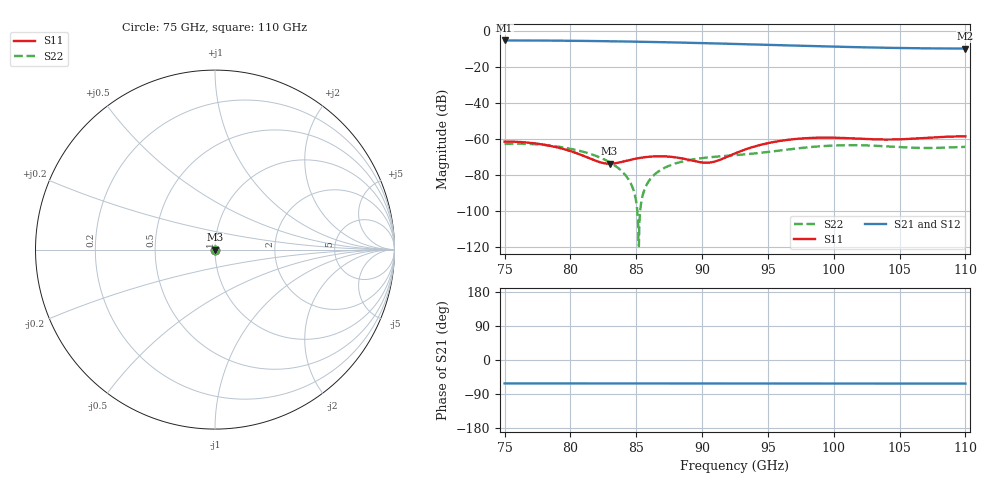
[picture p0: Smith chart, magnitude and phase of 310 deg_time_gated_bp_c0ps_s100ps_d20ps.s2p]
# Hz S RI R 50.000000
! Metas.Vna.Tools, 2.4.7724.19584
! Metas.Vna.Data, 2.4.7724.19560
! Created: UTC 2021.04.29 12:40:11
! FREQ  re:S1,1  im:S1,1  re:S2,1  im:S2,1  re:S1,2  im:S1,2  re:S2,2  im:S2,2
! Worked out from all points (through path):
!   1401 points, 75 GHz to 110 GHz, reference 50 ohm
!   highest |S21| = -5.34 dB at 75 GHz (marker M1); lowest = -9.8 dB at 110 GHz (marker M2)
!   lowest |S11| = -73.8 dB at 82.97 GHz (marker M3), VSWR 1.00, Z = 50 + j0.00603 ohm
!   |S11| at or under -10 dB: start of sweep to end of sweep
!   |S22| runs from -119.6 to -62.7 dB; largest |S21 - S12| = 0.03
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7.5e10  -0.000289 -0.000795  0.2557 -0.4765  0.2656 -0.4733  0.0007 0.000182
7.66e10  -0.000289 -0.000745  0.2552 -0.4755  0.2649 -0.4724  0.000687 0.00025
7.8125e10  -0.000286 -0.000613  0.2537 -0.4728  0.2632 -0.4698  0.000618 0.000268
7.9525e10  -0.000277 -0.000438  0.2515 -0.4688  0.2606 -0.466  0.000518 0.000249
8.085e10  -0.000258 -0.000244  0.2488 -0.4638  0.2573 -0.4612  0.000402 0.000205
8.22e10  -0.000223 -4.52e-05  0.2453 -0.4575  0.2532 -0.4553  0.000273 0.000145
8.2975e10  -0.000195 6.03e-05  0.243 -0.4534  0.2504 -0.4514  0.000198 0.000107
8.43e10  -0.000135 0.00021  0.2387 -0.4456  0.2451 -0.444  7.55e-05 4.15e-05
8.6225e10  -2.32e-05 0.000324  0.2316 -0.4326  0.2362 -0.4318  -7.81e-05 -4.37e-05
8.6675e10  5.27e-06 0.000329  0.2298 -0.4293  0.234 -0.4288  -0.000108 -6.13e-05
8.735e10  4.82e-05 0.000321  0.227 -0.4243  0.2304 -0.4241  -0.000147 -8.61e-05
8.8175e10  9.96e-05 0.000283  0.2235 -0.4179  0.2259 -0.4182  -0.000187 -0.000114
9.04e10  0.000213 4.68e-05  0.2135 -0.3998  0.2129 -0.4014  -0.00024 -0.000188
9.115e10  0.000237 -6.86e-05  0.21 -0.3935  0.2083 -0.3956  -0.000241 -0.000215
9.25e10  0.000254 -0.000303  0.2036 -0.382  0.1998 -0.3851  -0.000225 -0.000272
9.3825e10  0.000233 -0.000543  0.1973 -0.3706  0.1912 -0.3749  -0.000193 -0.000337
9.52e10  0.000171 -0.00077  0.1909 -0.359  0.1824 -0.3644  -0.000154 -0.000415
9.835e10  -0.000115 -0.00106  0.1769 -0.334  0.1627 -0.342  -9.71e-05 -0.000591
1.01125e11  -0.000461 -0.00094  0.1663 -0.3149  0.1473 -0.3252  -0.000154 -0.000652
1.04175e11  -0.000829 -0.000484  0.1573 -0.2987  0.134 -0.311  -0.000332 -0.000518
1.06925e11  -0.00106 -3.57e-05  0.1521 -0.2894  0.1262 -0.303  -0.000508 -0.000234
1.1e11  -0.00116 0.000186  0.15 -0.2857  0.123 -0.2998  -0.000589 0.00012
